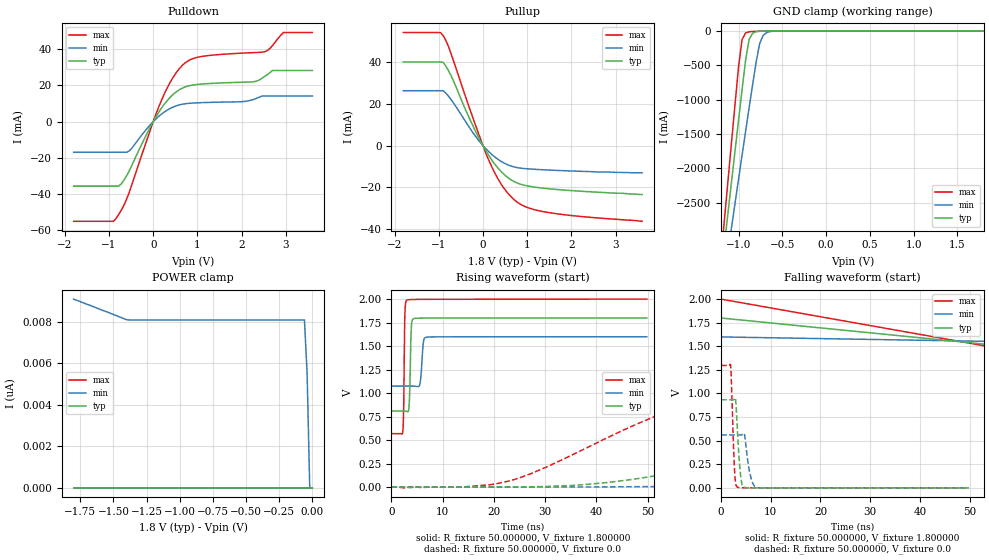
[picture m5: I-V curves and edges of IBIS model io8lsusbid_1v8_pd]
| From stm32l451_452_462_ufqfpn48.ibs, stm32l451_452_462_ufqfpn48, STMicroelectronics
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|   Model io8lsusbid_1v8_pd
[Model]  io8lsusbid_1v8_pd
Model_type I/O
Polarity   Non-Inverting
Enable   Active-Low
Vinl =   0.540000V
Vinh =   1.260000V
Vmeas =  0.900000V
Cref =   100.000000nF
Rref =   1.000000k
Vref =   1.800000V
C_comp   2.022300pF   2.021100pF   2.049600pF
[Temperature Range]   25.000000   0.125000k   -40.000000
[Pullup Reference]   1.800000V   1.600000V   2.000000V
[Pulldown Reference]   0.0V   0.0V   0.0V
[POWER Clamp Reference]   1.800000V   1.600000V   2.000000V
[GND Clamp Reference]   0.0V   0.0V   0.0V
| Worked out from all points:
|   slope of the pulldown table from 0 to 0.27 V, typ, clamps not added: 26.4 ohm
|   slope of the pullup table from 0 to 0.27 V, typ, clamps not added: 30.1 ohm
|   GND clamp passes 1 mA (typ) near -0.60 V on its own axis
|   rising waveform, R_fixture 50.000000, V_fixture 1.800000: 20-80 % time 250ps typ, 397ps min, 180ps max; typ from 0.808 V to 1.8 V
|   rising waveform, R_fixture 50.000000, V_fixture 0.0: 20-80 % time 65.2ns typ, 114ns min, 35.5ns max; typ from 0 V to 0.933 V
|   falling waveform, R_fixture 50.000000, V_fixture 1.800000: 20-80 % time 119ns typ, 161ns min, 92ns max; typ from 1.8 V to 0.808 V
|   falling waveform, R_fixture 50.000000, V_fixture 0.0: 20-80 % time 677ps typ, 985ps min, 516ps max; typ from 0.933 V to 0 V
[Pulldown]
|Voltage   I(typ)   I(min)   I(max)
-1.8V     -35.64mA   -16.93mA   -55.1mA
-840mV    -35.64mA   -16.93mA   -53.52mA
-720mV    -34.31mA   -16.93mA   -48.86mA
-540mV    -27.04mA   -16.13mA   -38.89mA
240mV     9.303mA    5.14mA     14.78mA
480mV     15.67mA    8.374mA    25.64mA
720mV     19.18mA    9.883mA    32.46mA
1.14V     20.87mA    10.54mA    36.19mA
2.28V     22.08mA    12.36mA    38.18mA
2.52V     24.96mA    14.18mA    38.63mA
2.94V     28.28mA    14.18mA    49.25mA
3.6V      28.28mA    14.18mA    49.25mA
[Pullup]
|Voltage   I(typ)   I(min)   I(max)
-1.8V     40.17mA    26.34mA    54.27mA
-960mV    40.17mA    26.34mA    54.27mA
-900mV    39.95mA    26.34mA    52.79mA
-780mV    36.01mA    23.74mA    47.65mA
-240mV    10.08mA    6.588mA    14.1mA
120mV     -4.38mA    -2.702mA   -6.45mA
240mV     -8.143mA   -5.004mA   -12mA
420mV     -12.68mA   -7.723mA   -18.77mA
720mV     -17.48mA   -10.37mA   -26.28mA
1.02V     -19.45mA   -11.2mA    -29.89mA
1.5V      -20.78mA   -11.79mA   -32.25mA
3.6V      -23.5mA    -13.1mA    -36.4mA
[GND_clamp]
|Voltage   I(typ)   I(min)   I(max)
-1.8V     -9.895A    -9.296A    -9.457A
-1.2V     -3.533A    -3.902A    -3.274A
-1.16V    -3.082A    -3.55A     -2.716A
-1.12V    -2.631A    -3.198A    -2.159A
-1.08V    -2.182A    -2.848A    -1.604A
-1V       -1.289A    -2.15A     -512mA
-960mV    -849.4mA   -1.803A    -123.8mA
-920mV    -422.4mA   -1.459A    -30.8mA
-880mV    -123.7mA   -1.118A    -13.64mA
-760mV    -6.331mA   -185.1mA   -5.703mA
-680mV    -2.582mA   -25.44mA   -2.917mA
1.8V      47.51uA    51.77uA    39.14uA
[POWER_clamp]
|Voltage   I(typ)   I(min)   I(max)
-1.8V     0A         9.088nA    0A
-1.4V     0A         8.095nA    0A
-60mV     0A         8.084nA    0A
-40mV     0A         5.54nA     0A
-20mV     0A         0A         0A
0V        0A         0A         0A
[Ramp]
| variable   typ   min   max
dV/dt_r  0.56008/65.14355n   0.33658/0.11418u   0.77826/35.46396n
dV/dt_f  0.59478/66.76513n   0.31500/0.11624u   0.85884/34.98706n
R_load = 50.000000
[Rising Waveform]
R_fixture= 50.000000
V_fixture= 1.800000
V_fixture_min= 1.600000
V_fixture_max= 2.000000
|time   V(typ)   V(min)   V(max)
0s        807.9mV    1.074V     568mV
2.202ns   808mV      1.074V     578.5mV
2.402ns   808mV      1.074V     854.5mV
2.603ns   807.9mV    1.074V     1.796V
3.003ns   804.1mV    1.074V     1.988V
3.504ns   909.1mV    1.074V     1.994V
3.904ns   1.718V     1.074V     1.995V
4.404ns   1.793V     1.074V     1.996V
6.807ns   1.798V     1.594V     1.997V
49.85ns   1.799V     1.599V     1.999V
[Rising Waveform]
R_fixture= 50.000000
V_fixture= 0.0
V_fixture_min= 0.0
V_fixture_max= 0.0
|time   V(typ)   V(min)   V(max)
0s        2.451nV    61.35nV    1.823nV
14.41ns   -57.33uV   -36.45uV   2.605mV
22.82ns   947.5uV    -21.17uV   62.61mV
42.04ns   47.24mV    1.669mV    522.1mV
64.86ns   258mV      15.76mV    999.5mV
81.68ns   438.4mV    43.77mV    1.173V
102.1ns   619.7mV    105.1mV    1.25V
156.2ns   858mV      294.9mV    1.292V
254.7ns   928.1mV    496.2mV    1.297V
598.2ns   933.5mV    560.6mV    1.297V
[Falling Waveform]
R_fixture= 50.000000
V_fixture= 1.800000
V_fixture_min= 1.600000
V_fixture_max= 2.000000
|time   V(typ)   V(min)   V(max)
0s        1.799V     1.599V     1.999V
150.2ns   1.015V     1.467V     597.7mV
300.3ns   820.3mV    1.137V     568.7mV
450.5ns   809.1mV    1.086V     568mV
750.8ns   807.9mV    1.075V     568mV
14.86us   807.9mV    1.074V     568mV
[Falling Waveform]
R_fixture= 50.000000
V_fixture= 0.0
V_fixture_min= 0.0
V_fixture_max= 0.0
|time   V(typ)   V(min)   V(max)
0s        933.5mV    560.6mV    1.297V
1.902ns   933.5mV    560.6mV    1.303V
2.703ns   945mV      560.6mV    191.4mV
2.903ns   941.8mV    560.6mV    53.39mV
3.303ns   585.2mV    560.5mV    7.214mV
4.004ns   97.7mV     560.3mV    1.122mV
4.705ns   4.645mV    564mV      346.3uV
5.806ns   337.8uV    150.6mV    148.9uV
7.107ns   -54.63uV   3.62mV     107.1uV
49.85ns   2.451nV    61.35nV    1.823nV
